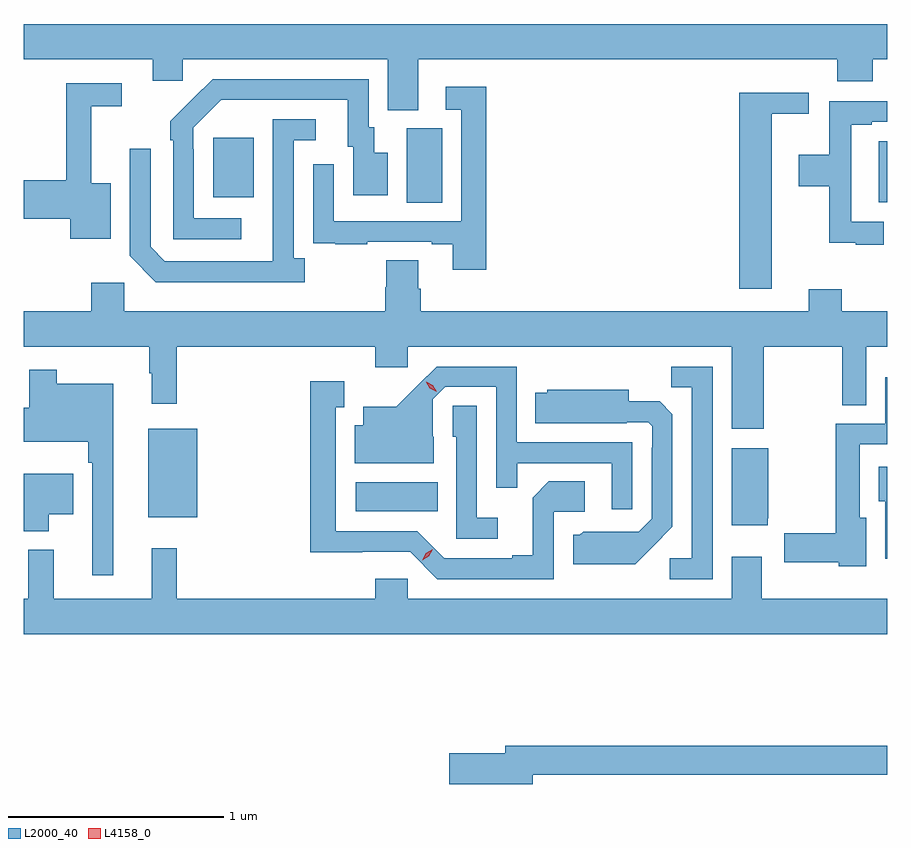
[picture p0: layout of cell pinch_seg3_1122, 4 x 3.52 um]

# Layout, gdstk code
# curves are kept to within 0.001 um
import gdstk
lib = gdstk.Library(unit=1e-6, precision=1e-09)
def R(c, l, rs):  # rectangles x0, y0, x1, y1
    for r in rs: c.add(gdstk.rectangle(r[:2], r[2:], *l))
def P(c, l, *ps):  # polygons
    for p in ps: c.add(gdstk.Polygon(p, *l))
L2000_40 = (2000, 40)
L4158_0 = (4158, 0)

pinch_seg3_1122 = lib.new_cell('pinch_seg3_1122')
R(pinch_seg3_1122, L2000_40, [(347.093,713.447,347.32,713.857), (348.054,713.474,348.434,713.608), (348.29,714.904,348.454,715.248), (350.477,714.905,350.516,715.189), (347.393,714.929,347.581,715.204)])
P(pinch_seg3_1122, L2000_40, [(348.343,715.568),(350.285,715.568),(350.285,715.466),(350.45,715.466),(350.45,715.568),(350.516,715.568),(350.516,715.732),(346.516,715.732),(346.516,715.568),(347.114,715.568),(347.114,715.47),(347.253,715.47),(347.253,715.568),(348.203,715.568),(348.203,715.333),(348.343,715.333)],
  [(347.524,714.831),(347.304,714.831),(347.304,715.151),(347.301,715.151),(347.301,715.251),(347.43,715.38),(348.017,715.38),(348.017,715.164),(348.041,715.164),(348.041,714.939),(348.202,714.939),(348.202,715.135),(348.139,715.135),(348.139,715.254),(348.114,715.254),(348.114,715.476),(347.39,715.476),(347.193,715.281),(347.193,715.193),(347.208,715.193),(347.208,714.735),(347.524,714.735)],
  [(346.918,714.994),(346.829,714.994),(346.829,715.35),(346.969,715.35),(346.969,715.458),(346.711,715.458),(346.711,715.007),(346.516,715.007),(346.516,714.829),(346.73,714.829),(346.73,714.737),(346.918,714.737)],
  [(348.659,715.441),(348.471,715.441),(348.471,715.335),(348.543,715.335),(348.543,714.819),(347.952,714.819),(347.952,715.081),(347.856,715.081),(347.856,714.826),(347.857,714.826),(347.857,714.717),(347.959,714.717),(347.959,714.711),(348.107,714.711),(348.107,714.723),(348.407,714.723),(348.407,714.711),(348.503,714.711),(348.503,714.594),(348.659,714.594)],
  [(349.981,715.316),(350.152,715.316),(350.152,715.414),(349.832,715.414),(349.832,714.504),(349.981,714.504)],
  [(350.5,714.816),(350.349,714.816),(350.349,715.266),(350.446,715.266),(350.446,715.278),(350.516,715.278),(350.516,715.374),(350.248,715.374),(350.248,715.126),(350.106,715.126),(350.106,714.979),(350.248,714.979),(350.248,714.719),(350.372,714.719),(350.372,714.708),(350.5,714.708)],
  [(347.818,714.646),(347.766,714.646),(347.766,715.194),(347.869,715.194),(347.869,715.29),(347.67,715.29),(347.669,714.633),(347.169,714.633),(347.103,714.699),(347.103,715.153),(347.007,715.153),(347.007,714.657),(347.128,714.536),(347.818,714.536)],
  [(349.944,714.236),(350.308,714.236),(350.308,713.965),(350.419,713.965),(350.419,714.236),(350.516,714.236),(350.516,714.4),(350.306,714.4),(350.306,714.502),(350.153,714.502),(350.153,714.4),(348.356,714.4),(348.356,714.506),(348.343,714.506),(348.343,714.638),(348.196,714.638),(348.196,714.513),(348.191,714.513),(348.191,714.4),(346.98,714.4),(346.98,714.532),(346.829,714.532),(346.829,714.4),(346.516,714.4),(346.516,714.236),(347.097,714.236),(347.097,714.113),(347.108,714.113),(347.108,713.973),(347.225,713.973),(347.225,714.236),(348.143,714.236),(348.143,714.141),(348.294,714.141),(348.294,714.236),(349.796,714.236),(349.796,713.856),(349.944,713.856)],
  [(349.707,714.144),(349.516,714.144),(349.516,714.049),(349.611,714.049),(349.611,713.256),(349.509,713.256),(349.509,713.16),(349.707,713.16)],
  [(349.335,713.793),(348.801,713.793),(348.801,714.144),(348.428,714.144),(348.241,713.959),(348.089,713.959),(348.089,713.872),(348.05,713.872),(348.05,713.696),(348.415,713.696),(348.415,713.82),(348.411,713.82),(348.411,713.994),(348.468,714.051),(348.705,714.051),(348.705,713.584),(348.803,713.584),(348.803,713.697),(349.239,713.697),(349.239,713.484),(349.335,713.484)],
  [(346.93,714.064),(346.669,714.064),(346.669,714.13),(346.54,714.13),(346.54,713.953),(346.516,713.953),(346.516,713.795),(346.813,713.795),(346.813,713.699),(346.833,713.699),(346.833,713.178),(346.93,713.178)],
  [(350.419,713.443),(350.389,713.443),(350.389,713.784),(350.516,713.784),(350.516,714.094),(350.508,714.094),(350.508,713.88),(350.278,713.88),(350.278,713.372),(350.04,713.372),(350.04,713.237),(350.292,713.237),(350.292,713.219),(350.419,713.219)],
  [(348.972,713.472),(349.114,713.472),(349.114,713.612),(348.949,713.612),(348.873,713.536),(348.873,713.269),(348.779,713.269),(348.779,713.256),(348.465,713.256),(348.339,713.382),(347.962,713.382),(347.962,713.955),(348.001,713.955),(348.001,714.076),(347.844,714.076),(347.844,713.285),(348.306,713.286),(348.432,713.16),(348.972,713.16)],
  [(349.429,713.309),(349.521,713.402),(349.521,713.924),(349.462,713.983),(349.318,713.983),(349.318,714.037),(348.942,714.037),(348.942,714.022),(348.886,714.022),(348.886,713.882),(349.31,713.882),(349.31,713.886),(349.41,713.886),(349.428,713.868),(349.428,713.768),(349.425,713.768),(349.425,713.439),(349.365,713.379),(349.108,713.38),(349.092,713.364),(349.061,713.364),(349.061,713.228),(349.349,713.228)],
  [(348.712,713.443),(348.615,713.443),(348.615,713.963),(348.504,713.963),(348.504,713.82),(348.519,713.82),(348.519,713.346),(348.712,713.346)],
  [(349.962,713.442),(349.966,713.442),(349.966,713.767),(349.796,713.767),(349.796,713.408),(349.962,713.408)],
  [(350.516,713.68),(350.477,713.68),(350.477,713.521),(350.508,713.521),(350.508,713.255),(350.516,713.255)],
  [(346.63,713.459),(346.744,713.459),(346.744,713.647),(346.516,713.647),(346.516,713.381),(346.63,713.381)],
  [(350.516,713.068),(349.936,713.068),(349.936,713.263),(349.796,713.263),(349.796,713.068),(348.294,713.068),(348.294,713.161),(348.143,713.161),(348.143,713.068),(347.225,713.068),(347.225,713.302),(347.108,713.302),(347.108,713.068),(346.655,713.068),(346.655,713.296),(346.537,713.296),(346.537,713.068),(346.516,713.068),(346.516,712.904),(350.516,712.904)],
  [(348.874,712.252),(350.516,712.252),(350.516,712.388),(348.746,712.388),(348.746,712.352),(348.486,712.352),(348.486,712.21),(348.874,712.21)])
P(pinch_seg3_1122, L4158_0, [(348.428,714.028),(348.397,714.043),(348.38,714.072),(348.38,714.073),(348.38,714.073),(348.411,714.057),(348.428,714.028),(348.428,714.028)],
  [(348.361,713.246),(348.361,713.246),(348.378,713.279),(348.41,713.297),(348.41,713.297),(348.41,713.297),(348.393,713.265),(348.361,713.246)])

lib.write_gds('pinch_seg3_1122.gds')
